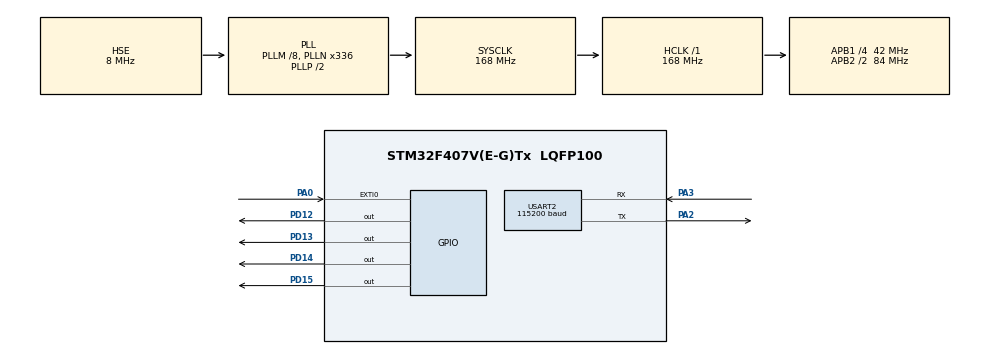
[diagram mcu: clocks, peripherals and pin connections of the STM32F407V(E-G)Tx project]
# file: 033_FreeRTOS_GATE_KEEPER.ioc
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FREERTOS.Tasks01=defaultTask,24,128,StartDefaultTask,Default,NULL,Dynamic,NULL,NULL
FREERTOS.configUSE_NEWLIB_REENTRANT=1
Mcu.Family=STM32F4
Mcu.Name=STM32F407V(E-G)Tx
Mcu.Package=LQFP100
NVIC.EXTI0_IRQn=true\:5\:0\:false\:false\:true\:true\:true\:true\:true
NVIC.PriorityGroup=NVIC_PRIORITYGROUP_4
NVIC.TIM8_TRG_COM_TIM14_IRQn=true\:15\:0\:false\:false\:true\:false\:false\:true\:true
NVIC.TimeBase=TIM8_TRG_COM_TIM14_IRQn
NVIC.TimeBaseIP=TIM14
NVIC.USART2_IRQn=true\:5\:0\:false\:false\:true\:true\:true\:true\:true
PA0-WKUP.Signal=GPXTI0
PA2.Mode=Asynchronous
PA2.Signal=USART2_TX
PA3.Mode=Asynchronous
PA3.Signal=USART2_RX
PD12.Signal=GPIO_Output
PD13.Signal=GPIO_Output
PD14.Signal=GPIO_Output
PD15.Signal=GPIO_Output
PH0-OSC_IN.Mode=HSE-External-Oscillator
PH0-OSC_IN.Signal=RCC_OSC_IN
PH1-OSC_OUT.Mode=HSE-External-Oscillator
PH1-OSC_OUT.Signal=RCC_OSC_OUT
ProjectManager.HeapSize=0x200
ProjectManager.StackSize=0x400
ProjectManager.TargetToolchain=STM32CubeIDE
RCC.48MHZClocksFreq_Value=48000000
RCC.AHBFreq_Value=168000000
RCC.APB1CLKDivider=RCC_HCLK_DIV4
RCC.APB1Freq_Value=42000000
RCC.APB1TimFreq_Value=84000000
RCC.APB2CLKDivider=RCC_HCLK_DIV2
RCC.APB2Freq_Value=84000000
RCC.APB2TimFreq_Value=168000000
RCC.CortexFreq_Value=168000000
RCC.HCLKFreq_Value=168000000
RCC.HSE_VALUE=8000000
RCC.HSI_VALUE=16000000
RCC.LSE_VALUE=32768
RCC.PLLM=8
RCC.PLLN=336
RCC.PLLQ=7
RCC.PLLSourceVirtual=RCC_PLLSOURCE_HSE
RCC.SYSCLKFreq_VALUE=168000000
RCC.SYSCLKSource=RCC_SYSCLKSOURCE_PLLCLK
RCC.VCOOutputFreq_Value=336000000
USART2.BaudRate=115200
USART2.VirtualMode=VM_ASYNC
VP_FREERTOS_VS_CMSIS_V2.Mode=CMSIS_V2
VP_SYS_VS_tim14.Mode=TIM14
board=STM32F407G-DISC1

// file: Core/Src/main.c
/* USER CODE BEGIN Header */
/**
  ******************************************************************************
  * @file           : main.c
  * @brief          : Main program body
  ******************************************************************************
  * @attention
  *
  * Copyright (c) 2023 STMicroelectronics.
  * All rights reserved.
  *
  * This software is licensed under terms that can be found in the LICENSE file
  * in the root directory of this software component.
  * If no LICENSE file comes with this software, it is provided AS-IS.
  *
  ******************************************************************************
  */
/* USER CODE END Header */
#include "main.h"
/* USER CODE BEGIN Includes */
#include "FreeRTOS.h"
#include "task.h"
#include "queue.h"
#include "semphr.h"
#include <string.h>
#include <math.h>
#include <stdlib.h>
/* USER CODE END Includes */

/* USER CODE BEGIN PD */

UART_HandleTypeDef huart2;

/* Definitions for defaultTask */

/* USER CODE BEGIN PV */
static char *pcStringsToPrint[] =
{
		"Task-1 *****************************************\r\n",
		"Task-2 -----------------------------------------\r\n",
		"Message printed from the tick hook interrupt ###\r\n"
};
QueueHandle_t xPrintQueue = NULL;
/* USER CODE END PV */

void SystemClock_Config(void);
static void MX_GPIO_Init(void);
static void MX_USART2_UART_Init(void);

/* USER CODE BEGIN 0 */
static void prvUART_GateKEEPER_Task(void *pvParameters)
{
	char *pcMessageToPrint;

	for(;;)
	{
		xQueueReceive(xPrintQueue, &pcMessageToPrint, portMAX_DELAY);
		HAL_UART_Transmit(&huart2,(uint8_t *)pcMessageToPrint, strlen(pcMessageToPrint), HAL_MAX_DELAY);
	}
}
static void prvPrintTask(void *pvParameters)
{
	int iIndexToString;
	const TickType_t xMaxBlockTimeTicks = 0x20;

	iIndexToString = (int)pvParameters;

	for(;;)
	{
		xQueueSendToBack(xPrintQueue, &(pcStringsToPrint[iIndexToString]), 0);
		vTaskDelay((rand() % xMaxBlockTimeTicks));
	}
}
// define configUSE_TICK_HOOK 1 in FreeRTOSConfig.h
void vApplicationTickHook(void)
{
	static int iCount = 0;
	iCount++;
	if(iCount >= 200)
	{
		xQueueSendToFrontFromISR(xPrintQueue, &(pcStringsToPrint[2]), NULL);
		iCount = 0;
	}
}
/* USER CODE END 0 */

int main(void)
{

  /* MCU Configuration--------------------------------------------------------*/

  /* Reset of all peripherals, Initializes the Flash interface and the Systick. */
  HAL_Init();

  /* Configure the system clock */
  SystemClock_Config();

  /* Initialize all configured peripherals */
  MX_GPIO_Init();
  MX_USART2_UART_Init();
  /* USER CODE BEGIN 2 */
  xPrintQueue = xQueueCreate(5, sizeof(char *));
  if(xPrintQueue != NULL)
  {
	  xTaskCreate(prvPrintTask, "Print1", 1000, (void *)0, 1, NULL);
	  xTaskCreate(prvPrintTask, "Print2", 1000, (void *)1, 2, NULL);
	  xTaskCreate(prvUART_GateKEEPER_Task, "GateKeeper", 1000, NULL, 0, NULL);

	  vTaskStartScheduler();
  }
  /* USER CODE END 2 */

  /* Init scheduler */

  /* Create the thread(s) */
  /* creation of defaultTask */

  /* Start scheduler */

  /* We should never get here as control is now taken by the scheduler */
  /* Infinite loop */
  while (1)
  {

  }
}

void SystemClock_Config(void)
{
  RCC_OscInitTypeDef RCC_OscInitStruct = {0};
  RCC_ClkInitTypeDef RCC_ClkInitStruct = {0};

  /** Configure the main internal regulator output voltage
  */
  __HAL_RCC_PWR_CLK_ENABLE();
  __HAL_PWR_VOLTAGESCALING_CONFIG(PWR_REGULATOR_VOLTAGE_SCALE1);

  /** Initializes the RCC Oscillators according to the specified parameters
  * in the RCC_OscInitTypeDef structure.
  */
  RCC_OscInitStruct.OscillatorType = RCC_OSCILLATORTYPE_HSE;
  RCC_OscInitStruct.HSEState = RCC_HSE_ON;
  RCC_OscInitStruct.PLL.PLLState = RCC_PLL_ON;
  RCC_OscInitStruct.PLL.PLLSource = RCC_PLLSOURCE_HSE;
  RCC_OscInitStruct.PLL.PLLM = 8;
  RCC_OscInitStruct.PLL.PLLN = 336;
  RCC_OscInitStruct.PLL.PLLP = RCC_PLLP_DIV2;
  RCC_OscInitStruct.PLL.PLLQ = 7;
  if (HAL_RCC_OscConfig(&RCC_OscInitStruct) != HAL_OK)
  {
    Error_Handler();
  }

  /** Initializes the CPU, AHB and APB buses clocks
  */
  RCC_ClkInitStruct.ClockType = RCC_CLOCKTYPE_HCLK|RCC_CLOCKTYPE_SYSCLK
                              |RCC_CLOCKTYPE_PCLK1|RCC_CLOCKTYPE_PCLK2;
  RCC_ClkInitStruct.SYSCLKSource = RCC_SYSCLKSOURCE_PLLCLK;
  RCC_ClkInitStruct.AHBCLKDivider = RCC_SYSCLK_DIV1;
  RCC_ClkInitStruct.APB1CLKDivider = RCC_HCLK_DIV4;
  RCC_ClkInitStruct.APB2CLKDivider = RCC_HCLK_DIV2;

  if (HAL_RCC_ClockConfig(&RCC_ClkInitStruct, FLASH_LATENCY_5) != HAL_OK)
  {
    Error_Handler();
  }
}

static void MX_USART2_UART_Init(void)
{

  huart2.Instance = USART2;
  huart2.Init.BaudRate = 115200;
  huart2.Init.WordLength = UART_WORDLENGTH_8B;
  huart2.Init.StopBits = UART_STOPBITS_1;
  huart2.Init.Parity = UART_PARITY_NONE;
  huart2.Init.Mode = UART_MODE_TX_RX;
  huart2.Init.HwFlowCtl = UART_HWCONTROL_NONE;
  huart2.Init.OverSampling = UART_OVERSAMPLING_16;
  if (HAL_UART_Init(&huart2) != HAL_OK)
  {
    Error_Handler();
  }

}

static void MX_GPIO_Init(void)
{
  GPIO_InitTypeDef GPIO_InitStruct = {0};

  /* GPIO Ports Clock Enable */
  __HAL_RCC_GPIOH_CLK_ENABLE();
  __HAL_RCC_GPIOA_CLK_ENABLE();
  __HAL_RCC_GPIOD_CLK_ENABLE();

  /*Configure GPIO pin Output Level */
  HAL_GPIO_WritePin(GPIOD, GPIO_PIN_12|GPIO_PIN_13|GPIO_PIN_14|GPIO_PIN_15, GPIO_PIN_RESET);

  /*Configure GPIO pin : PA0 */
  GPIO_InitStruct.Pin = GPIO_PIN_0;
  GPIO_InitStruct.Mode = GPIO_MODE_IT_RISING;
  GPIO_InitStruct.Pull = GPIO_NOPULL;
  HAL_GPIO_Init(GPIOA, &GPIO_InitStruct);

  /*Configure GPIO pins : PD12 PD13 PD14 PD15 */
  GPIO_InitStruct.Pin = GPIO_PIN_12|GPIO_PIN_13|GPIO_PIN_14|GPIO_PIN_15;
  GPIO_InitStruct.Mode = GPIO_MODE_OUTPUT_PP;
  GPIO_InitStruct.Pull = GPIO_NOPULL;
  GPIO_InitStruct.Speed = GPIO_SPEED_FREQ_LOW;
  HAL_GPIO_Init(GPIOD, &GPIO_InitStruct);

  /* EXTI interrupt init*/
  HAL_NVIC_SetPriority(EXTI0_IRQn, 5, 0);
  HAL_NVIC_EnableIRQ(EXTI0_IRQn);

}

void HAL_TIM_PeriodElapsedCallback(TIM_HandleTypeDef *htim)
{
  if (htim->Instance == TIM14) {
    HAL_IncTick();
  }
}

void Error_Handler(void)
{
  __disable_irq();
  while (1)
  {
  }
}
